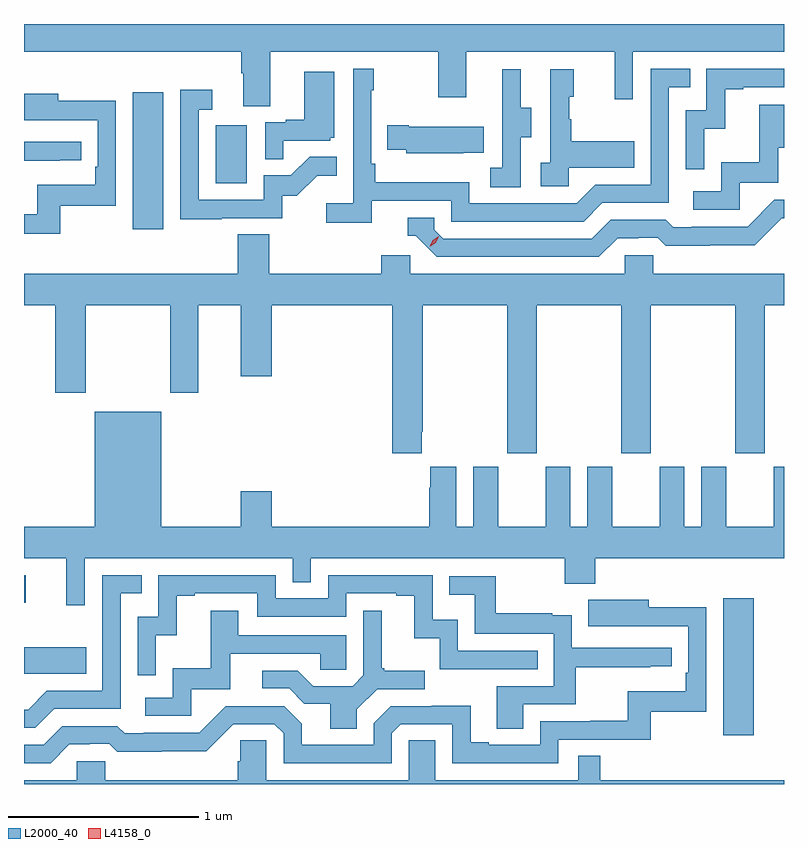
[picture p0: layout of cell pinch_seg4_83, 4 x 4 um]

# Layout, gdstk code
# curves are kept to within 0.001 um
import gdstk
lib = gdstk.Library(unit=1e-6, precision=1e-09)
def R(c, l, rs):  # rectangles x0, y0, x1, y1
    for r in rs: c.add(gdstk.rectangle(r[:2], r[2:], *l))
def P(c, l, *ps):  # polygons
    for p in ps: c.add(gdstk.Polygon(p, *l))
L2000_40 = (2000, 40)
L4158_0 = (4158, 0)

pinch_seg4_83 = lib.new_cell('pinch_seg4_83')
R(pinch_seg4_83, L2000_40, [(1066.649,826.524,1066.81,827.245), (1062.968,826.847,1063.295,826.987), (1062.968,827.22,1062.976,827.365), (1063.541,829.188,1063.702,829.909), (1063.976,829.428,1064.14,829.735)])
P(pinch_seg4_83, L2000_40, [(1062.968,830.12),(1064.111,830.12),(1064.111,830.008),(1064.123,830.008),(1064.123,829.834),(1064.263,829.834),(1064.263,830.12),(1065.148,830.12),(1065.148,829.881),(1065.295,829.881),(1065.295,830.12),(1066.076,830.12),(1066.076,829.872),(1066.173,829.872),(1066.173,830.12),(1066.968,830.12),(1066.968,830.267),(1062.968,830.267)],
  [(1064.798,829.338),(1065.216,829.338),(1065.216,829.227),(1065.913,829.227),(1066.012,829.326),(1066.362,829.326),(1066.362,829.935),(1066.475,829.935),(1066.475,830.031),(1066.266,830.031),(1066.266,829.422),(1065.975,829.422),(1065.876,829.323),(1065.312,829.323),(1065.312,829.435),(1064.816,829.435),(1064.816,829.531),(1064.796,829.531),(1064.796,829.919),(1064.809,829.919),(1064.809,830.032),(1064.7,830.032),(1064.7,829.324),(1064.559,829.324),(1064.559,829.222),(1064.798,829.222)],
  [(1066.548,829.715),(1066.658,829.715),(1066.658,829.923),(1066.753,829.923),(1066.753,829.935),(1066.968,829.935),(1066.968,830.031),(1066.56,830.031),(1066.56,829.812),(1066.452,829.812),(1066.452,829.503),(1066.548,829.503)],
  [(1065.582,829.672),(1065.637,829.672),(1065.637,829.827),(1065.583,829.827),(1065.583,830.029),(1065.485,830.029),(1065.485,829.815),(1065.486,829.815),(1065.486,829.511),(1065.423,829.511),(1065.423,829.408),(1065.582,829.408)],
  [(1065.834,829.511),(1066.181,829.511),(1066.181,829.651),(1065.847,829.651),(1065.847,829.766),(1065.837,829.766),(1065.837,829.884),(1065.862,829.884),(1065.862,830.029),(1065.738,830.029),(1065.738,829.538),(1065.687,829.538),(1065.687,829.413),(1065.834,829.413)],
  [(1064.333,829.653),(1064.58,829.653),(1064.58,829.668),(1064.602,829.668),(1064.602,830.017),(1064.444,830.017),(1064.444,829.762),(1064.345,829.762),(1064.345,829.749),(1064.238,829.749),(1064.238,829.555),(1064.333,829.555)],
  [(1064.009,829.245),(1064.328,829.245),(1064.328,829.362),(1064.404,829.362),(1064.511,829.469),(1064.615,829.469),(1064.615,829.568),(1064.471,829.568),(1064.373,829.47),(1064.229,829.47),(1064.229,829.341),(1063.887,829.341),(1063.887,829.815),(1063.96,829.815),(1063.96,829.921),(1063.791,829.921),(1063.791,829.24),(1064.009,829.24)],
  [(1063.159,829.311),(1063.452,829.311),(1063.452,829.862),(1063.147,829.862),(1063.147,829.9),(1062.968,829.9),(1062.968,829.76),(1063.043,829.76),(1063.043,829.761),(1063.356,829.761),(1063.356,829.516),(1063.343,829.516),(1063.343,829.42),(1063.038,829.42),(1063.038,829.265),(1062.968,829.265),(1062.968,829.164),(1063.159,829.164)],
  [(1066.734,829.431),(1066.939,829.431),(1066.939,829.617),(1066.968,829.617),(1066.968,829.843),(1066.837,829.843),(1066.837,829.54),(1066.638,829.54),(1066.638,829.386),(1066.491,829.386),(1066.491,829.29),(1066.734,829.29)],
  [(1065.281,829.589),(1065.389,829.589),(1065.389,829.726),(1064.992,829.726),(1064.992,829.734),(1064.881,829.734),(1064.881,829.604),(1064.979,829.604),(1064.979,829.586),(1065.281,829.586)],
  [(1063.157,829.551),(1063.27,829.551),(1063.27,829.647),(1062.968,829.647),(1062.968,829.546),(1063.157,829.546)],
  [(1066.093,829.14),(1066.2,829.14),(1066.2,829.143),(1066.303,829.143),(1066.345,829.101),(1066.578,829.101),(1066.578,829.103),(1066.814,829.103),(1066.956,829.245),(1066.968,829.245),(1066.968,829.341),(1066.917,829.341),(1066.776,829.2),(1066.483,829.2),(1066.483,829.197),(1066.384,829.197),(1066.345,829.236),(1066.056,829.236),(1065.957,829.137),(1065.174,829.137),(1065.126,829.185),(1065.126,829.248),(1064.987,829.248),(1064.987,829.152),(1065.03,829.152),(1065.141,829.041),(1065.994,829.041)],
  [(1065,829.05),(1064.849,829.05),(1064.849,828.952),(1064.258,828.952),(1064.258,829.16),(1064.093,829.16),(1064.093,828.952),(1062.968,828.952),(1062.968,828.788),(1063.133,828.788),(1063.133,828.327),(1063.293,828.327),(1063.293,828.788),(1063.738,828.788),(1063.738,828.327),(1063.885,828.327),(1063.885,828.788),(1064.108,828.788),(1064.108,828.414),(1064.272,828.414),(1064.272,828.788),(1064.906,828.788),(1064.906,828.009),(1065.061,828.009),(1065.061,828.121),(1065.066,828.121),(1065.066,828.788),(1065.511,828.788),(1065.511,828.009),(1065.666,828.009),(1065.666,828.788),(1066.111,828.788),(1066.111,828.009),(1066.266,828.009),(1066.266,828.788),(1066.711,828.788),(1066.711,828.009),(1066.866,828.009),(1066.866,828.788),(1066.968,828.788),(1066.968,828.952),(1066.281,828.952),(1066.281,829.05),(1066.131,829.05),(1066.131,828.952),(1065,828.952)],
  [(1063.287,827.456),(1064.382,827.456),(1064.382,827.329),(1064.478,827.329),(1064.478,827.456),(1065.814,827.456),(1065.814,827.321),(1065.974,827.321),(1065.974,827.456),(1066.968,827.456),(1066.968,827.938),(1066.913,827.938),(1066.913,827.62),(1066.663,827.62),(1066.663,827.938),(1066.532,827.938),(1066.532,827.62),(1066.444,827.62),(1066.444,827.938),(1066.313,827.938),(1066.313,827.62),(1066.063,827.62),(1066.063,827.938),(1065.932,827.938),(1065.932,827.62),(1065.844,827.62),(1065.844,827.938),(1065.713,827.938),(1065.713,827.62),(1065.463,827.62),(1065.463,827.938),(1065.332,827.938),(1065.332,827.62),(1065.244,827.62),(1065.244,827.938),(1065.107,827.938),(1065.107,827.825),(1065.101,827.825),(1065.101,827.62),(1064.272,827.62),(1064.272,827.809),(1064.108,827.809),(1064.108,827.62),(1063.69,827.62),(1063.69,828.226),(1063.34,828.226),(1063.34,827.62),(1062.968,827.62),(1062.968,827.456),(1063.19,827.456),(1063.19,827.208),(1063.287,827.208)],
  [(1063.126,826.662),(1063.476,826.662),(1063.476,827.271),(1063.589,827.271),(1063.589,827.367),(1063.38,827.367),(1063.38,826.758),(1063.089,826.758),(1062.99,826.659),(1062.968,826.659),(1062.968,826.563),(1063.027,826.563)],
  [(1063.662,827.051),(1063.772,827.051),(1063.772,827.259),(1063.867,827.259),(1063.867,827.271),(1064.196,827.271),(1064.196,827.148),(1064.664,827.148),(1064.664,827.271),(1064.927,827.271),(1064.927,827.259),(1065.023,827.259),(1065.023,827.033),(1065.156,827.033),(1065.156,826.872),(1065.671,826.872),(1065.671,826.968),(1065.252,826.968),(1065.252,827.131),(1065.12,827.131),(1065.12,827.367),(1064.568,827.367),(1064.568,827.244),(1064.292,827.244),(1064.292,827.367),(1063.674,827.367),(1063.674,827.148),(1063.566,827.148),(1063.566,826.839),(1063.662,826.839)],
  [(1065.595,826.686),(1065.872,826.686),(1065.872,826.882),(1066.265,826.882),(1066.265,826.887),(1066.378,826.887),(1066.378,826.983),(1065.852,826.983),(1065.852,827.155),(1065.749,827.155),(1065.749,827.167),(1065.451,827.167),(1065.451,827.361),(1065.205,827.361),(1065.205,827.264),(1065.34,827.264),(1065.34,827.058),(1065.756,827.058),(1065.756,826.782),(1065.455,826.782),(1065.455,826.558),(1065.595,826.558)],
  [(1063.207,826.476),(1063.314,826.476),(1063.314,826.479),(1063.417,826.479),(1063.459,826.437),(1063.692,826.437),(1063.692,826.439),(1063.928,826.439),(1064.07,826.581),(1064.286,826.581),(1064.334,826.533),(1064.334,826.377),(1064.904,826.377),(1064.904,826.533),(1064.952,826.581),(1065.222,826.581),(1065.222,826.377),(1065.78,826.377),(1065.78,826.5),(1066.267,826.5),(1066.267,826.647),(1066.56,826.647),(1066.56,827.198),(1066.255,827.198),(1066.255,827.236),(1065.937,827.236),(1065.937,827.096),(1066.464,827.097),(1066.464,826.852),(1066.451,826.852),(1066.451,826.756),(1066.146,826.756),(1066.146,826.601),(1065.949,826.601),(1065.949,826.596),(1065.684,826.596),(1065.684,826.473),(1065.415,826.473),(1065.415,826.486),(1065.319,826.486),(1065.319,826.679),(1065.114,826.679),(1065.114,826.677),(1064.898,826.677),(1064.808,826.587),(1064.808,826.473),(1064.431,826.473),(1064.431,826.583),(1064.337,826.677),(1064.031,826.677),(1063.89,826.536),(1063.597,826.536),(1063.597,826.533),(1063.498,826.533),(1063.459,826.572),(1063.17,826.572),(1063.071,826.473),(1062.968,826.473),(1062.968,826.377),(1063.108,826.377)],
  [(1064.719,826.66),(1064.826,826.767),(1065.076,826.767),(1065.076,826.864),(1064.863,826.864),(1064.863,826.876),(1064.851,826.876),(1064.851,827.179),(1064.754,827.179),(1064.754,826.839),(1064.697,826.782),(1064.491,826.782),(1064.41,826.863),(1064.223,826.863),(1064.223,826.77),(1064.364,826.77),(1064.444,826.69),(1064.579,826.69),(1064.579,826.558),(1064.719,826.558)],
  [(1063.848,826.767),(1064.053,826.767),(1064.053,826.953),(1064.527,826.953),(1064.527,826.869),(1064.664,826.869),(1064.664,827.049),(1064.095,827.049),(1064.095,827.179),(1063.951,827.179),(1063.951,826.876),(1063.752,826.876),(1063.752,826.722),(1063.605,826.722),(1063.605,826.626),(1063.848,826.626)],
  [(1066.968,826.288),(1066.001,826.288),(1066.001,826.415),(1065.885,826.415),(1065.885,826.288),(1065.133,826.288),(1065.133,826.496),(1064.994,826.496),(1064.994,826.288),(1064.244,826.288),(1064.244,826.496),(1064.107,826.496),(1064.107,826.386),(1064.093,826.386),(1064.093,826.288),(1063.395,826.288),(1063.395,826.386),(1063.245,826.386),(1063.245,826.288),(1062.968,826.288),(1062.968,826.267),(1066.968,826.267)])
P(pinch_seg4_83, L4158_0, [(1065.104,829.098),(1065.104,829.098),(1065.12,829.13),(1065.15,829.15),(1065.151,829.15),(1065.151,829.15),(1065.135,829.117),(1065.105,829.098)])

lib.write_gds('pinch_seg4_83.gds')
